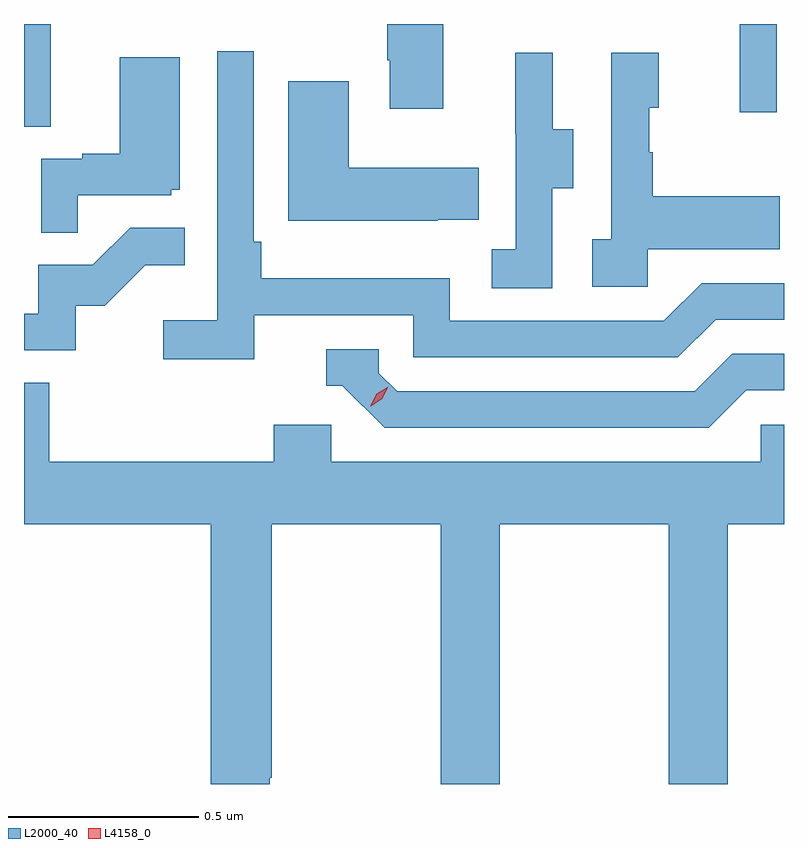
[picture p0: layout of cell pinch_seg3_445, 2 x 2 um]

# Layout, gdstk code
import gdstk
lib = gdstk.Library(unit=1e-6, precision=1e-09)
def R(c, l, rs):  # rectangles x0, y0, x1, y1
    for r in rs: c.add(gdstk.rectangle(r[:2], r[2:], *l))
def P(c, l, *ps):  # polygons
    for p in ps: c.add(gdstk.Polygon(p, *l))
L2000_40 = (2000, 40)
L4158_0 = (4158, 0)

pinch_seg3_445 = lib.new_cell('pinch_seg3_445')
R(pinch_seg3_445, L2000_40, [(944.534,683.314,944.605,683.584), (946.418,683.352,946.515,683.584)])
P(pinch_seg3_445, L2000_40, [(945.637,683.584),(945.49,683.584),(945.49,683.489),(945.497,683.489),(945.497,683.361),(945.637,683.361)],
  [(945.14,682.818),(945.558,682.818),(945.558,682.707),(946.255,682.707),(946.354,682.806),(946.534,682.806),(946.534,682.902),(946.317,682.902),(946.218,682.803),(945.654,682.803),(945.654,682.915),(945.158,682.915),(945.158,683.011),(945.138,683.011),(945.138,683.512),(945.042,683.512),(945.042,682.804),(944.901,682.804),(944.901,682.702),(945.14,682.702)],
  [(946.176,682.991),(946.523,682.991),(946.523,683.131),(946.189,683.131),(946.189,683.246),(946.179,683.246),(946.179,683.364),(946.204,683.364),(946.204,683.509),(946.08,683.509),(946.08,683.018),(946.029,683.018),(946.029,682.893),(946.176,682.893)],
  [(945.924,683.152),(945.979,683.152),(945.979,683.307),(945.925,683.307),(945.925,683.509),(945.827,683.509),(945.827,683.295),(945.828,683.295),(945.828,682.991),(945.765,682.991),(945.765,682.888),(945.924,682.888)],
  [(944.675,683.133),(944.922,683.133),(944.922,683.148),(944.944,683.148),(944.944,683.497),(944.786,683.497),(944.786,683.242),(944.687,683.242),(944.687,683.229),(944.58,683.229),(944.58,683.035),(944.675,683.035)],
  [(945.623,683.069),(945.731,683.069),(945.731,683.206),(945.388,683.206),(945.388,683.434),(945.23,683.434),(945.23,683.066),(945.623,683.066)],
  [(944.67,682.842),(944.746,682.842),(944.853,682.949),(944.957,682.949),(944.957,683.048),(944.813,683.048),(944.715,682.95),(944.571,682.95),(944.571,682.821),(944.534,682.821),(944.534,682.725),(944.67,682.725)],
  [(946.435,682.62),(946.534,682.62),(946.534,682.716),(946.398,682.716),(946.299,682.617),(945.516,682.617),(945.468,682.665),(945.468,682.728),(945.329,682.728),(945.329,682.632),(945.372,682.632),(945.483,682.521),(946.336,682.521)],
  [(945.181,681.601),(945.186,681.601),(945.186,682.268),(945.631,682.268),(945.631,681.584),(945.786,681.584),(945.786,682.268),(946.231,682.268),(946.231,681.584),(946.386,681.584),(946.386,682.268),(946.534,682.268),(946.534,682.53),(946.473,682.53),(946.473,682.432),(945.342,682.432),(945.342,682.53),(945.191,682.53),(945.191,682.432),(944.6,682.432),(944.6,682.64),(944.534,682.64),(944.534,682.268),(945.026,682.268),(945.026,681.584),(945.181,681.584)])
P(pinch_seg3_445, L4158_0, [(945.445,682.578),(945.445,682.578),(945.462,682.611),(945.493,682.63),(945.493,682.63),(945.493,682.63),(945.477,682.598),(945.446,682.578)])

lib.write_gds('pinch_seg3_445.gds')
